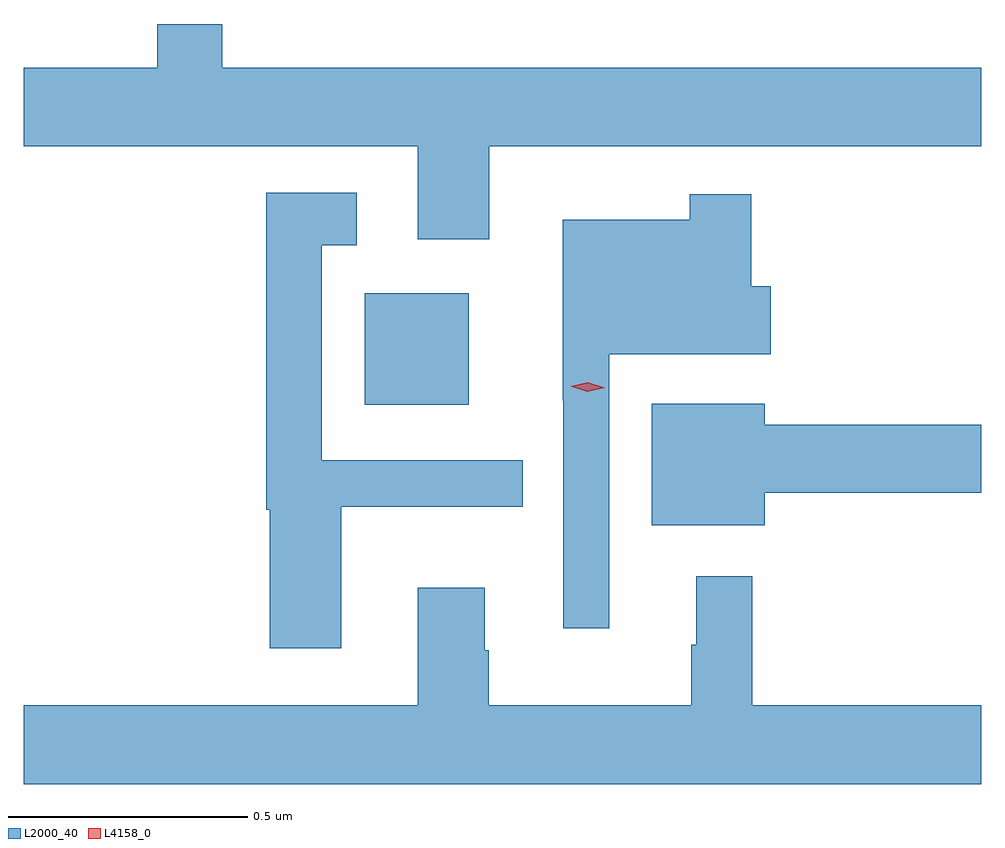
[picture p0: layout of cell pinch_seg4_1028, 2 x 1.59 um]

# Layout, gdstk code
import gdstk
lib = gdstk.Library(unit=1e-6, precision=1e-09)
def R(c, l, rs):  # rectangles x0, y0, x1, y1
    for r in rs: c.add(gdstk.rectangle(r[:2], r[2:], *l))
def P(c, l, *ps):  # polygons
    for p in ps: c.add(gdstk.Polygon(p, *l))
L2000_40 = (2000, 40)
L4158_0 = (4158, 0)

pinch_seg4_1028 = lib.new_cell('pinch_seg4_1028')
R(pinch_seg4_1028, L2000_40, [(784.256,788.288,784.474,788.521)])
P(pinch_seg4_1028, L2000_40, [(784.516,788.828),(785.544,788.828),(785.544,788.992),(783.959,788.992),(783.959,789.083),(783.823,789.083),(783.823,788.992),(783.544,788.992),(783.544,788.828),(784.367,788.828),(784.367,788.634),(784.516,788.634)],
  [(784.207,788.075),(784.586,788.075),(784.586,788.172),(784.167,788.172),(784.167,788.621),(784.24,788.621),(784.24,788.731),(784.051,788.731),(784.051,788.069),(784.058,788.069),(784.058,787.779),(784.207,787.779)],
  [(784.767,788.393),(785.104,788.393),(785.104,788.535),(785.063,788.535),(785.063,788.728),(784.935,788.728),(784.935,788.674),(784.67,788.674),(784.67,788.297),(784.671,788.297),(784.671,787.821),(784.767,787.821)],
  [(785.092,788.104),(785.544,788.104),(785.544,788.246),(785.092,788.246),(785.092,788.29),(784.856,788.29),(784.856,788.036),(785.092,788.036)],
  [(785.544,787.66),(785.066,787.66),(785.066,787.93),(784.949,787.93),(784.949,787.787),(784.938,787.787),(784.938,787.66),(784.515,787.66),(784.515,787.775),(784.507,787.775),(784.507,787.906),(784.367,787.906),(784.367,787.66),(783.544,787.66),(783.544,787.496),(785.544,787.496)])
P(pinch_seg4_1028, L4158_0, [(784.721,788.315),(784.686,788.327),(784.686,788.327),(784.686,788.327),(784.722,788.335),(784.757,788.323),(784.757,788.323),(784.757,788.323)])

lib.write_gds('pinch_seg4_1028.gds')
